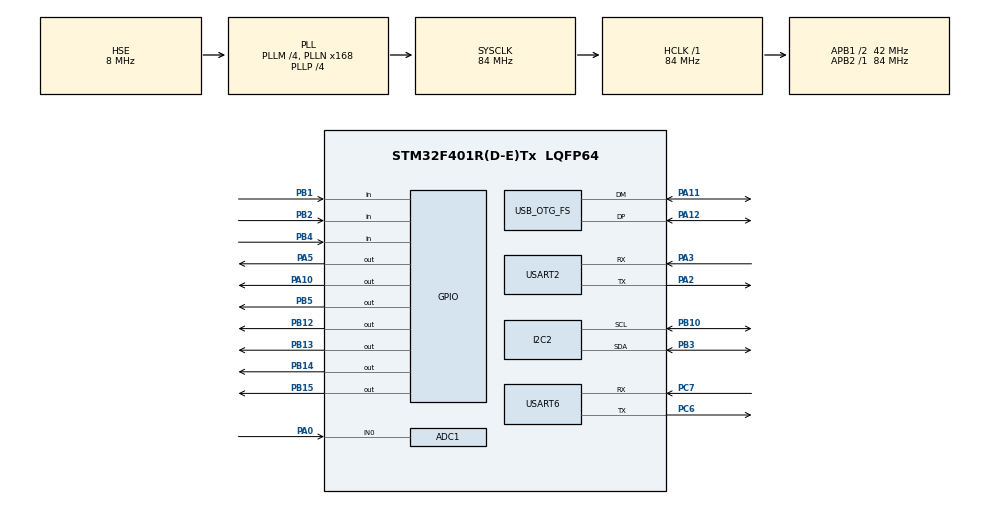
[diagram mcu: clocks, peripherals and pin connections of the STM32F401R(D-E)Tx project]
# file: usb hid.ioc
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ADC1.Channel-0\#ChannelRegularConversion=ADC_CHANNEL_0
ADC1.NbrOfConversionFlag=1
ADC1.Rank-0\#ChannelRegularConversion=1
ADC1.SamplingTime-0\#ChannelRegularConversion=ADC_SAMPLETIME_3CYCLES
ADC1.master=1
Mcu.Family=STM32F4
Mcu.Name=STM32F401R(D-E)Tx
Mcu.Package=LQFP64
NVIC.OTG_FS_IRQn=true\:0\:0\:false\:false\:true\:false\:true\:true
NVIC.PriorityGroup=NVIC_PRIORITYGROUP_4
NVIC.USART2_IRQn=true\:0\:0\:false\:false\:true\:true\:true\:true
PA0-WKUP.Signal=ADCx_IN0
PA10.Signal=GPIO_Output
PA11.Mode=Host_Only
PA11.Signal=USB_OTG_FS_DM
PA12.Mode=Host_Only
PA12.Signal=USB_OTG_FS_DP
PA13.Mode=Serial_Wire
PA13.Signal=SYS_JTMS-SWDIO
PA14.Mode=Serial_Wire
PA14.Signal=SYS_JTCK-SWCLK
PA2.Mode=Asynchronous
PA2.Signal=USART2_TX
PA3.Mode=Asynchronous
PA3.Signal=USART2_RX
PA5.Signal=GPIO_Output
PB1.Signal=GPIO_Input
PB10.Mode=I2C
PB10.Signal=I2C2_SCL
PB12.Signal=GPIO_Output
PB13.Signal=GPIO_Output
PB14.Signal=GPIO_Output
PB15.Signal=GPIO_Output
PB2.Signal=GPIO_Input
PB3.Mode=I2C
PB3.Signal=I2C2_SDA
PB4.Signal=GPIO_Input
PB5.Signal=GPIO_Output
PC6.Mode=Asynchronous
PC6.Signal=USART6_TX
PC7.Mode=Asynchronous
PC7.Signal=USART6_RX
PH0\ -\ OSC_IN.Mode=HSE-External-Clock-Source
PH0\ -\ OSC_IN.Signal=RCC_OSC_IN
PH1\ -\ OSC_OUT.Mode=HSE-External-Clock-Source
PH1\ -\ OSC_OUT.Signal=RCC_OSC_OUT
ProjectManager.HeapSize=0x200
ProjectManager.StackSize=0x400
ProjectManager.TargetToolchain=STM32CubeIDE
RCC.48MHZClocksFreq_Value=48000000
RCC.AHBFreq_Value=84000000
RCC.APB1CLKDivider=RCC_HCLK_DIV2
RCC.APB1Freq_Value=42000000
RCC.APB1TimFreq_Value=84000000
RCC.APB2Freq_Value=84000000
RCC.APB2TimFreq_Value=84000000
RCC.CortexFreq_Value=84000000
RCC.HCLKFreq_Value=84000000
RCC.HSE_VALUE=8000000
RCC.HSI_VALUE=16000000
RCC.LSE_VALUE=32768
RCC.PLLM=4
RCC.PLLN=168
RCC.PLLP=RCC_PLLP_DIV4
RCC.PLLQ=7
RCC.SYSCLKFreq_VALUE=84000000
RCC.SYSCLKSource=RCC_SYSCLKSOURCE_PLLCLK
RCC.VCOOutputFreq_Value=336000000
SH.ADCx_IN0.0=ADC1_IN0,IN0
USART2.VirtualMode=VM_ASYNC
USART6.VirtualMode=VM_ASYNC
USB_HOST.USBH_HandleTypeDef-HID_FS=hUsbHostFS
USB_HOST.VirtualModeFS=Hid
USB_OTG_FS.VirtualMode=Host_Only
USB_OTG_FS.phy_itface=HCD_PHY_EMBEDDED
VP_USB_HOST_VS_USB_HOST_HID_FS.Mode=HID_FS
board=custom

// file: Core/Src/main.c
/* USER CODE BEGIN Header */
/**
  ******************************************************************************
  * @file           : main.c
  * @brief          : Main program body
  ******************************************************************************
  * @attention
  *
  * Copyright (c) 2022 STMicroelectronics.
  * All rights reserved.
  *
  * This software is licensed under terms that can be found in the LICENSE file
  * in the root directory of this software component.
  * If no LICENSE file comes with this software, it is provided AS-IS.
  *
  ******************************************************************************
  */
/* USER CODE END Header */
#include "main.h"
#include "usb_host.h"
#include "i2c-lcd.h"
#include <stdio.h>
#include <stddef.h>
#include <stdbool.h>
#include <string.h>
/* USER CODE BEGIN Includes */
uint8_t data[] = "61940024";

/* USER CODE END Includes */

 ADC_HandleTypeDef hadc1;

I2C_HandleTypeDef hi2c2;

UART_HandleTypeDef huart2;
UART_HandleTypeDef huart6;

void SystemClock_Config(void);
static void MX_GPIO_Init(void);
static void MX_USART2_UART_Init(void);
static void MX_USART6_UART_Init(void);
static void MX_I2C2_Init(void);
static void MX_ADC1_Init(void);
void MX_USB_HOST_Process(void);

/* USER CODE BEGIN PFP */
#include "usbh_hid.h"
static int32_t uart_length=0;
int k =0 ;
const int sampleWindow = 100;                              // Sample window width in mS (50 mS = 20Hz)
unsigned int sample;
unsigned long  startMillis;
unsigned longstartMillis ;                  // Start of sample window
float peakToPeak = 0;                                  // peak-to-peak level
unsigned int signalMax = 0;                            //minimum value
unsigned int signalMin = 1024;
int db = 0;
double raw_value;
char msg[20]="";
uint16_t raw;
double Reavoltage;

const int SAMPLE_TIME = 10;
 unsigned long millisCurrent;
 unsigned long millisLast = 0;
 unsigned long millisElapsed = 0;
 int sampleBufferValue = 0;
int c=0;
 int num_Measure = 128 ; // Set the number of measurements
 // pin connected to pin O module sound sensor
 int redLed = 5;
 long Sound_signal;    // Store the value read Sound Sensor
 long sum = 0 ; // Store the total value of n measurements
int level = 0 ; // Store the average value
 int soundlow = 40;
 int soundmedium = 500;

bool teste ;
 char  uart_tx_buffer[100];
char buffer1[100];
char buffer2[100];
char rx_buffer[100];
uint8_t data2[100] ;
char rx_buffer2[100];
char rx_buffer4[100];
char rx_buffer5[100];
char rx_buffer6[100];
char rx_buffer7[100];
char rx_buffer11[100];
char buffer5[100]="a/";
char buffer6[100]="/1";
uint8_t data3[] = " \r\n slahO WORLD \r\n";
uint8_t data4[] = " \r\n slah5 WORLD \r\n";
char position[100]="0";
uint8_t str[100];
uint8_t ch[100];
uint8_t keycode;
char str1[]="01XY";
int i =0  ;
float val = 0;
int toggle = 0;
extern HID_MOUSE_Info_TypeDef mouse_info;
/* USER CODE END PFP */

/* USER CODE BEGIN 0 */
bool startsWith(const char *haystack, const char *needle) {
    for (size_t i = 0; needle[i] != '\0'; i++) {
        if (haystack[i] != needle[i]) {
            return false;
        }
    }

    return true;
}

long map(long x, long in_min, long in_max, long out_min, long out_max)
{
return (x - in_min) * (out_max - out_min) / (in_max - in_min) + out_min;
}

//(startsWith(buffer1, "5")==true)

void USBH_HID_EventCallback(USBH_HandleTypeDef *phost)
{
HID_KEYBD_Info_TypeDef *keybd_info;

HID_HandleTypeDef *HID_Handle = (HID_HandleTypeDef *) phost->pActiveClass->pData;
if(HID_Handle->Init == USBH_HID_KeybdInit){
keybd_info = USBH_HID_GetKeybdInfo(phost);
keycode = USBH_HID_GetASCIICode(keybd_info);
uart_length=sprintf(uart_tx_buffer,"%c",keycode);
strcat(buffer1,uart_tx_buffer);
}}

/* USER CODE END 0 */

int main(void)
{

  /* MCU Configuration--------------------------------------------------------*/

  /* Reset of all peripherals, Initializes the Flash interface and the Systick. */
  HAL_Init();

  /* Configure the system clock */
  SystemClock_Config();

  /* Initialize all configured peripherals */
  MX_GPIO_Init();
  MX_USART2_UART_Init();
  MX_USB_HOST_Init();
  MX_USART6_UART_Init();
  MX_I2C2_Init();
  MX_ADC1_Init();
  /* USER CODE BEGIN 2 */
  lcd_init ();
  lcd_send_string ("sagemcom");

  HAL_Delay(1000);
  lcd_clear ();
  /* USER CODE END 2 */

  /* Infinite loop */
  while (1)
  {
    MX_USB_HOST_Process();

    if(strcmp(uart_tx_buffer,"Y")== 0){
    	if((startsWith(buffer1, "0")==true)){
    		if(strcmp(buffer1,"00000001XY")== 0){

    			HAL_UART_Transmit(&huart2,(uint8_t*)"position 1  \r\n",sizeof ("position 1  \r\n"), 1000);
    			lcd_put_cur(0, 0);
    			lcd_send_string("position 1");
    			lcd_put_cur(1, 0);
    			lcd_send_string(buffer1);
    			HAL_Delay(1000);
    			strncpy(position, "machine1", sizeof(position));
    			strncpy(buffer1, "", sizeof(buffer1));
    			i=1;
            									}

            if (strcmp(buffer1,"00000002XY")== 0){
            	 HAL_UART_Transmit(&huart2,(uint8_t*)"position 2  \r\n",sizeof ("position 2  \r\n"), 1000);
            	 lcd_put_cur(0, 0);
            	 lcd_send_string("position 2");
            	 lcd_put_cur(1, 0);
            	 lcd_send_string(buffer1);
            	 HAL_Delay(1000);

            	 strncpy(position, "machine2", sizeof(position));

            	 strncpy(buffer1, "", sizeof(buffer1));
            	 i=2;
            									}
           	   	   	   	   	   	   	   	   }

    	if (strcmp(buffer1,"")!= 0)
                       	   	   	   {
    			char buffer5[100]="/a/";
    			char buffer8[100]="/a/";
    			char buffer10[100]="/a/";
    			char buffer6[100]="/teste1";
    			char buffer7[100]="/teste2/validation";
    			char buffer4[100]="/teste2/position";
    			strcat(buffer5,buffer1);
    			strcat(buffer5,buffer6);
    			strcat(buffer8,buffer1);
    			strcat(buffer8,buffer7);
    			strcat(buffer10,buffer1);
    			strcat(buffer10,buffer4);
    			HAL_UART_Transmit(&huart2,(uint8_t*)buffer5,sizeof(buffer5),1000);
    			HAL_UART_Transmit(&huart6,(uint8_t*)buffer5,sizeof(buffer5), 3000);
    			HAL_UART_Receive(&huart6,(uint8_t*)rx_buffer,20,3000);
    			while (strcmp(rx_buffer,"")== 0 ){
    				HAL_UART_Receive(&huart6,(uint8_t*)rx_buffer,5,3000);
    				HAL_Delay(50);

    											}

    			HAL_UART_Transmit(&huart2,(uint8_t*)rx_buffer,sizeof(rx_buffer),1000);
    			HAL_UART_Transmit(&huart2,(uint8_t*)"\r\n",sizeof("\r\n"),1000);
    			lcd_clear ();
    			lcd_put_cur(0, 0);
    			lcd_send_string(rx_buffer);
            	lcd_put_cur(1, 0);
            	lcd_send_string(buffer1);
            	HAL_Delay(2000);
            	lcd_clear ();
            	if ((startsWith(rx_buffer, "e")==true )){

            	        		lcd_send_string("l'article nexis-");

            	        		lcd_put_cur(1, 0);
            	        		lcd_send_string("te pas dans la DB");
            	        		HAL_Delay(2000);

            	        }
            	if ((startsWith(rx_buffer, "f")==true )){

            	        	        		lcd_send_string("le teste precident");

            	        	        		lcd_put_cur(1, 0);
            	        	        		lcd_send_string("n'est pas valide");
            	        	        		HAL_Delay(2000);

            	        	        }
            	if ((startsWith(rx_buffer, "t")==true ) && ( i==0 )){
            		HAL_UART_Transmit(&huart6,(uint8_t*)"555",sizeof ("555"), 3000);
            		lcd_put_cur(0, 0);
            		lcd_send_string("teste");
            		HAL_UART_Receive(&huart6,(uint8_t*)rx_buffer2,3,3000);
            		HAL_UART_Transmit(&huart2,(uint8_t*)rx_buffer2,sizeof(rx_buffer2),1000);
            		lcd_clear ();
            		lcd_put_cur(0, 0);
            		lcd_send_string(rx_buffer2);
            		lcd_put_cur(1, 0);
            		lcd_send_string(buffer1);
            		HAL_Delay(2000);

            }

            if ((startsWith(rx_buffer, "t")==true ) && ( i==1 )){
            	HAL_GPIO_WritePin(GPIOB, GPIO_PIN_12, 1);
            	HAL_GPIO_WritePin(GPIOB, GPIO_PIN_13, 1);

            	lcd_clear ();
            	 lcd_put_cur(0, 0);
            	            lcd_send_string("validation?");
            	            lcd_put_cur(1, 0);
            	            lcd_send_string(buffer1);
            	            HAL_Delay(1000);
            	            lcd_clear ();
            //	while ((HAL_GPIO_ReadPin(GPIOB, GPIO_PIN_2)== 0) &&  (HAL_GPIO_ReadPin(GPIOB, GPIO_PIN_1)== 0)     ){

          //  }
 while (( db < 90) )
 {
HAL_GPIO_WritePin(GPIOB, GPIO_PIN_5, 1);
HAL_Delay(500);

float peakToPeak = 0;                                  // peak-to-peak level

unsigned int signalMax = 0;                            //minimum value
unsigned int signalMin = 1024;
unsigned long startMillis=HAL_GetTick();
 while (((HAL_GetTick() - startMillis) < sampleWindow))
{
HAL_ADC_Start(&hadc1);
HAL_ADC_PollForConversion(&hadc1, HAL_MAX_DELAY);
sample  = HAL_ADC_GetValue(&hadc1 ) ;
HAL_ADC_Stop(&hadc1);

            	                                         //get reading from microphone
 if (sample < 1024)                                  // toss out spurious readings
 {
if (sample > signalMax)
{
signalMax = sample;                           // save just the max levels
 }
else if (sample < signalMin)
{
signalMin = sample;                           // save just the min levels
}
}
}

 peakToPeak = signalMax - signalMin;                    // max - min = peak-peak amplitude
db = map(peakToPeak,20,900,49.5,90);   //(long x, long in_min, long in_max, long out_min, long out_max)
lcd_clear ();
lcd_put_cur(0,0);
lcd_send_string ("bd = ");
lcd_put_cur(0,4);
k++;

if (db <= 80)
{
sprintf ( msg , "%hu\r\n " , db ) ;
lcd_put_cur(0,4);
lcd_send_string (msg);

if (k>=20)
{ teste = false ;
break;
}

}

else
{  sprintf ( msg , "%hu\r\n " , db ) ;

lcd_put_cur(0,4);
lcd_send_string (msg);
 teste = true;
break;
 }

HAL_Delay(100);
 }
if (teste==true){
lcd_clear ();
lcd_put_cur(0,0);
lcd_send_string ("bd = ");
lcd_put_cur(0,4);
lcd_send_string (msg);
lcd_put_cur(1,0);
lcd_send_string ("teste valide");
 HAL_Delay(500);
 HAL_GPIO_WritePin(GPIOB, GPIO_PIN_5, 0);

}

else if (teste==false ){
lcd_clear ();
lcd_put_cur(0,0);
lcd_send_string ("bd = ");
lcd_put_cur(0,4);
lcd_send_string (msg);
lcd_put_cur(1,0);
lcd_send_string ("teste non valide");
HAL_Delay(500);
 HAL_GPIO_WritePin(GPIOB, GPIO_PIN_5, 0);

 }

            if(teste==true)
            {
            lcd_clear ();
            HAL_UART_Transmit(&huart6,(uint8_t*)"ook",sizeof ("ook"), 3000);
            lcd_put_cur(0, 0);
            lcd_send_string("oui");
            HAL_GPIO_WritePin(GPIOB, GPIO_PIN_12, 0);
            HAL_GPIO_WritePin(GPIOB, GPIO_PIN_13, 0);

             HAL_UART_Receive(&huart6,(uint8_t*)rx_buffer2,3,3000);

            HAL_UART_Transmit(&huart2,(uint8_t*)rx_buffer2,sizeof(rx_buffer2),1000);
            lcd_clear ();
            lcd_put_cur(0, 0);
            lcd_send_string(rx_buffer2);
            HAL_Delay(2000);

            HAL_UART_Transmit(&huart2,(uint8_t*)buffer8,sizeof(buffer8),1000);
            HAL_UART_Transmit(&huart6,(uint8_t*)buffer8,sizeof(buffer8),3000);
            HAL_UART_Receive(&huart6,(uint8_t*)rx_buffer4,3,3000);

            HAL_UART_Transmit(&huart2,(uint8_t*)rx_buffer4,sizeof(rx_buffer4),1000);
            lcd_clear ();
            lcd_put_cur(0, 0);
            lcd_send_string(rx_buffer4);
            HAL_UART_Receive(&huart6,(uint8_t*)rx_buffer5,3,3000);

            HAL_UART_Transmit(&huart2,(uint8_t*)rx_buffer5,sizeof(rx_buffer5),1000);
            lcd_clear ();
            lcd_put_cur(0, 0);
            lcd_send_string(rx_buffer5);
            HAL_UART_Transmit(&huart6,(uint8_t*)buffer10,sizeof (buffer10), 3000);
            HAL_UART_Receive(&huart6,(uint8_t*)rx_buffer6,3,3000);

            HAL_UART_Transmit(&huart2,(uint8_t*)rx_buffer6,sizeof(rx_buffer6),1000);

            lcd_clear ();
            lcd_put_cur(0, 0);
            lcd_send_string(rx_buffer6);
            HAL_Delay(2000);
            HAL_UART_Transmit(&huart6,(uint8_t*)position,sizeof (position), 3000);

            HAL_UART_Receive(&huart6,(uint8_t*)rx_buffer7,6,3000);
            HAL_UART_Transmit(&huart2,(uint8_t*)"coooo",sizeof("coooo"),1000);
                   HAL_UART_Transmit(&huart2,(uint8_t*)rx_buffer7,sizeof(rx_buffer7),1000);
            HAL_UART_Receive(&huart6,(uint8_t*)rx_buffer11,3,3000);

            lcd_clear ();
            lcd_put_cur(0, 0);
            lcd_send_string(rx_buffer7);
            lcd_put_cur(1, 0);
            lcd_send_string("BD update ");

            }

            if(teste==false)
            {

            lcd_clear ();

            HAL_UART_Transmit(&huart6,(uint8_t*)"non",sizeof ("non"), 3000);
            lcd_put_cur(0, 0);
            lcd_send_string("non");
            HAL_GPIO_WritePin(GPIOB, GPIO_PIN_12, 0);
            HAL_GPIO_WritePin(GPIOB, GPIO_PIN_13, 0);

            HAL_UART_Receive(&huart6,(uint8_t*)rx_buffer2,3,3000);

            HAL_UART_Transmit(&huart2,(uint8_t*)rx_buffer2,sizeof(rx_buffer2),1000);
            lcd_clear ();
            lcd_put_cur(0, 0);
            lcd_send_string(rx_buffer2);
            HAL_Delay(2000);

            HAL_UART_Transmit(&huart2,(uint8_t*)buffer8,sizeof(buffer8),1000);
            HAL_UART_Transmit(&huart6,(uint8_t*)buffer8,sizeof(buffer8),3000);
            HAL_UART_Receive(&huart6,(uint8_t*)rx_buffer4,3,3000);

            HAL_UART_Transmit(&huart2,(uint8_t*)rx_buffer4,sizeof(rx_buffer4),1000);
            lcd_clear ();
            lcd_put_cur(0, 0);
            lcd_send_string(rx_buffer4);
            HAL_UART_Receive(&huart6,(uint8_t*)rx_buffer5,3,3000);

            HAL_UART_Transmit(&huart2,(uint8_t*)rx_buffer5,sizeof(rx_buffer5),1000);
            lcd_clear ();
            lcd_put_cur(0, 0);
            lcd_send_string(rx_buffer5);
            HAL_UART_Transmit(&huart6,(uint8_t*)buffer10,sizeof (buffer10), 3000);
            HAL_UART_Receive(&huart6,(uint8_t*)rx_buffer6,3,3000);

            HAL_UART_Transmit(&huart2,(uint8_t*)rx_buffer6,sizeof(rx_buffer6),1000);
            lcd_clear ();
            lcd_put_cur(0, 0);
            lcd_send_string(rx_buffer6);
            HAL_Delay(2000);

            HAL_UART_Transmit(&huart6,(uint8_t*)position,sizeof (position), 3000);

                   HAL_UART_Receive(&huart6,(uint8_t*)rx_buffer7,6,3000);
                   HAL_UART_Transmit(&huart2,(uint8_t*)"coooo",sizeof("coooo"),1000);
                          HAL_UART_Transmit(&huart2,(uint8_t*)rx_buffer7,sizeof(rx_buffer7),1000);
                   HAL_UART_Receive(&huart6,(uint8_t*)rx_buffer11,3,3000);

            lcd_clear ();
            lcd_put_cur(0, 0);
            lcd_send_string(rx_buffer7);
            lcd_put_cur(1, 0);
            lcd_send_string("BD update ");

            }

            }

            if ((startsWith(rx_buffer, "t")==true ) && ( i==2 )){
            	HAL_GPIO_WritePin(GPIOB, GPIO_PIN_14, 1);
            	HAL_GPIO_WritePin(GPIOB, GPIO_PIN_15, 1);

            	lcd_clear ();

          //  	while ((HAL_GPIO_ReadPin(GPIOB, GPIO_PIN_2)== 0) &&  (HAL_GPIO_ReadPin(GPIOB, GPIO_PIN_1)== 0)     ){

            lcd_put_cur(0, 0);
            lcd_send_string("validation?");
            lcd_put_cur(1, 0);
                    lcd_send_string(buffer1);
                    HAL_Delay(500);
                    lcd_clear ();
         //   }
                    while (( db < 90) )
                    {
                   HAL_GPIO_WritePin(GPIOB, GPIO_PIN_5, 1);
                   HAL_Delay(500);

                   float peakToPeak = 0;                                  // peak-to-peak level

                   unsigned int signalMax = 0;                            //minimum value
                   unsigned int signalMin = 1024;
                   unsigned long startMillis=HAL_GetTick();
                    while (((HAL_GetTick() - startMillis) < sampleWindow))
                   {
                   HAL_ADC_Start(&hadc1);
                   HAL_ADC_PollForConversion(&hadc1, HAL_MAX_DELAY);
                   sample  = HAL_ADC_GetValue(&hadc1 ) ;
                   HAL_ADC_Stop(&hadc1);

                               	                                         //get reading from microphone
                    if (sample < 1024)                                  // toss out spurious readings
                    {
                   if (sample > signalMax)
                   {
                   signalMax = sample;                           // save just the max levels
                    }
                   else if (sample < signalMin)
                   {
                   signalMin = sample;                           // save just the min levels
                   }
                   }
                   }

                    peakToPeak = signalMax - signalMin;                    // max - min = peak-peak amplitude
                   db = map(peakToPeak,20,900,49.5,90);   //(long x, long in_min, long in_max, long out_min, long out_max)
                   lcd_clear ();
                   lcd_put_cur(0,0);
                   lcd_send_string ("bd = ");
                   lcd_put_cur(0,4);
                   k++;

                   if (db <= 80)
                   {
                   sprintf ( msg , "%hu\r\n " , db ) ;
                   lcd_put_cur(0,4);
                   lcd_send_string (msg);

                   if (k>=20)
                   { teste = false ;
                   break;
                   }

                   }

                   else
                   {  sprintf ( msg , "%hu\r\n " , db ) ;

                   lcd_put_cur(0,4);
                   lcd_send_string (msg);
                    teste = true;
                   break;
                    }

                   HAL_Delay(100);
                    }
                   if (teste==true){
                   lcd_clear ();
                   lcd_put_cur(0,0);
                   lcd_send_string ("bd = ");
                   lcd_put_cur(0,4);
                   lcd_send_string (msg);
                   lcd_put_cur(1,0);
                   lcd_send_string ("teste valide");
                    HAL_Delay(500);
                    HAL_GPIO_WritePin(GPIOB, GPIO_PIN_5, 0);

                   }

                   else if (teste==false ){
                   lcd_clear ();
                   lcd_put_cur(0,0);
                   lcd_send_string ("bd = ");
                   lcd_put_cur(0,4);
                   lcd_send_string (msg);
                   lcd_put_cur(1,0);
                   lcd_send_string ("teste non valide");
                   HAL_Delay(500);
                    HAL_GPIO_WritePin(GPIOB, GPIO_PIN_5, 0);

                    }

            if(teste==true)
            {
            lcd_clear ();
            HAL_UART_Transmit(&huart6,(uint8_t*)"ook",sizeof ("ook"), 3000);
            lcd_put_cur(0, 0);
            lcd_send_string("oui");
            HAL_GPIO_WritePin(GPIOB, GPIO_PIN_14, 0);
            HAL_GPIO_WritePin(GPIOB, GPIO_PIN_15, 0);

             HAL_UART_Receive(&huart6,(uint8_t*)rx_buffer2,3,3000);

            HAL_UART_Transmit(&huart2,(uint8_t*)rx_buffer2,sizeof(rx_buffer2),1000);
            lcd_clear ();
            lcd_put_cur(0, 0);
            lcd_send_string(rx_buffer2);
            HAL_Delay(2000);

            HAL_UART_Transmit(&huart2,(uint8_t*)buffer8,sizeof(buffer8),1000);
            HAL_UART_Transmit(&huart6,(uint8_t*)buffer8,sizeof(buffer8),3000);
            HAL_UART_Receive(&huart6,(uint8_t*)rx_buffer4,3,3000);

            HAL_UART_Transmit(&huart2,(uint8_t*)rx_buffer4,sizeof(rx_buffer4),1000);
            lcd_clear ();
            lcd_put_cur(0, 0);
            lcd_send_string(rx_buffer4);
            HAL_UART_Receive(&huart6,(uint8_t*)rx_buffer5,3,3000);

            HAL_UART_Transmit(&huart2,(uint8_t*)rx_buffer5,sizeof(rx_buffer5),1000);
            lcd_clear ();
            lcd_put_cur(0, 0);
            lcd_send_string(rx_buffer5);
            HAL_UART_Transmit(&huart6,(uint8_t*)buffer10,sizeof (buffer10), 3000);
            HAL_UART_Receive(&huart6,(uint8_t*)rx_buffer6,3,3000);

            HAL_UART_Transmit(&huart2,(uint8_t*)rx_buffer6,sizeof(rx_buffer6),1000);
            lcd_clear ();
            lcd_put_cur(0, 0);
            lcd_send_string(rx_buffer6);
            HAL_Delay(2000);
            HAL_UART_Transmit(&huart6,(uint8_t*)position,sizeof (position), 3000);

                   HAL_UART_Receive(&huart6,(uint8_t*)rx_buffer7,6,3000);
                   HAL_UART_Transmit(&huart2,(uint8_t*)"coooo",sizeof("coooo"),1000);
                          HAL_UART_Transmit(&huart2,(uint8_t*)rx_buffer7,sizeof(rx_buffer7),1000);
                   HAL_UART_Receive(&huart6,(uint8_t*)rx_buffer11,3,3000);

            lcd_clear ();
            lcd_put_cur(0, 0);
            lcd_send_string(rx_buffer7);
            lcd_put_cur(1, 0);
            lcd_send_string("BD update ");

            }

            if(teste==false)
            {

            lcd_clear ();

            HAL_UART_Transmit(&huart6,(uint8_t*)"non",sizeof ("non"), 3000);
            lcd_put_cur(0, 0);
            lcd_send_string("non");
            HAL_GPIO_WritePin(GPIOB, GPIO_PIN_14, 0);
            HAL_GPIO_WritePin(GPIOB, GPIO_PIN_15, 0);

            HAL_UART_Receive(&huart6,(uint8_t*)rx_buffer2,3,3000);

            HAL_UART_Transmit(&huart2,(uint8_t*)rx_buffer2,sizeof(rx_buffer2),1000);
            lcd_clear ();
            lcd_put_cur(0, 0);
            lcd_send_string(rx_buffer2);
            HAL_Delay(2000);

            HAL_UART_Transmit(&huart2,(uint8_t*)buffer8,sizeof(buffer8),1000);
            HAL_UART_Transmit(&huart6,(uint8_t*)buffer8,sizeof(buffer8),3000);
            HAL_UART_Receive(&huart6,(uint8_t*)rx_buffer4,3,3000);

            HAL_UART_Transmit(&huart2,(uint8_t*)rx_buffer4,sizeof(rx_buffer4),1000);
            lcd_clear ();
            lcd_put_cur(0, 0);
            lcd_send_string(rx_buffer4);
            HAL_UART_Receive(&huart6,(uint8_t*)rx_buffer5,3,3000);

            HAL_UART_Transmit(&huart2,(uint8_t*)rx_buffer5,sizeof(rx_buffer5),1000);
            lcd_clear ();
            lcd_put_cur(0, 0);
            lcd_send_string(rx_buffer5);
            HAL_UART_Transmit(&huart6,(uint8_t*)buffer10,sizeof (buffer10), 3000);
            HAL_UART_Receive(&huart6,(uint8_t*)rx_buffer6,3,3000);

            HAL_UART_Transmit(&huart2,(uint8_t*)rx_buffer6,sizeof(rx_buffer6),1000);
            lcd_clear ();
            lcd_put_cur(0, 0);
            lcd_send_string(rx_buffer6);
            HAL_Delay(2000);
            HAL_UART_Transmit(&huart6,(uint8_t*)position,sizeof (position), 3000);

                   HAL_UART_Receive(&huart6,(uint8_t*)rx_buffer7,6,3000);
                   HAL_UART_Transmit(&huart2,(uint8_t*)"coooo",sizeof("coooo"),1000);
                          HAL_UART_Transmit(&huart2,(uint8_t*)rx_buffer7,sizeof(rx_buffer7),1000);
                   HAL_UART_Receive(&huart6,(uint8_t*)rx_buffer11,3,3000);

            lcd_clear ();
            lcd_put_cur(0, 0);
            lcd_send_string(rx_buffer7);
            lcd_put_cur(1, 0);
            lcd_send_string("BD update ");

            }

            }

        strncpy(position, "", sizeof(position));
        strncpy(rx_buffer, "", sizeof(rx_buffer));
        strncpy(rx_buffer, "", sizeof(rx_buffer));
        strncpy(rx_buffer2, "", sizeof(rx_buffer2));
        strncpy(rx_buffer5, "", sizeof(rx_buffer5));
        strncpy(rx_buffer4, "", sizeof(rx_buffer4));
        strncpy(rx_buffer6, "", sizeof(rx_buffer6));
        strncpy(rx_buffer7, "", sizeof(rx_buffer7));
        strncpy(rx_buffer11, "", sizeof(rx_buffer11));
        strncpy(uart_tx_buffer, "", sizeof(uart_tx_buffer));
        strncpy(buffer8, "", sizeof(buffer8));
        strncpy(buffer7, "", sizeof(buffer7));
        strncpy(uart_tx_buffer, "", sizeof(uart_tx_buffer));
        strncpy(buffer1, "", sizeof(buffer1));
        strncpy(buffer5, "", sizeof(buffer5));
        strncpy(buffer6, "", sizeof(buffer6));
        strncpy(rx_buffer, "", sizeof(rx_buffer));
        strncpy(buffer8, "", sizeof(buffer8));
        strncpy(buffer7, "", sizeof(buffer7));
        strncpy(buffer4, "", sizeof(buffer4));
        strncpy(buffer10, "", sizeof(buffer10));
    i=0;

        }
        }

  }
}

void SystemClock_Config(void)
{
  RCC_OscInitTypeDef RCC_OscInitStruct = {0};
  RCC_ClkInitTypeDef RCC_ClkInitStruct = {0};

  /** Configure the main internal regulator output voltage
  */
  __HAL_RCC_PWR_CLK_ENABLE();
  __HAL_PWR_VOLTAGESCALING_CONFIG(PWR_REGULATOR_VOLTAGE_SCALE2);

  /** Initializes the RCC Oscillators according to the specified parameters
  * in the RCC_OscInitTypeDef structure.
  */
  RCC_OscInitStruct.OscillatorType = RCC_OSCILLATORTYPE_HSE;
  RCC_OscInitStruct.HSEState = RCC_HSE_BYPASS;
  RCC_OscInitStruct.PLL.PLLState = RCC_PLL_ON;
  RCC_OscInitStruct.PLL.PLLSource = RCC_PLLSOURCE_HSE;
  RCC_OscInitStruct.PLL.PLLM = 4;
  RCC_OscInitStruct.PLL.PLLN = 168;
  RCC_OscInitStruct.PLL.PLLP = RCC_PLLP_DIV4;
  RCC_OscInitStruct.PLL.PLLQ = 7;
  if (HAL_RCC_OscConfig(&RCC_OscInitStruct) != HAL_OK)
  {
    Error_Handler();
  }

  /** Initializes the CPU, AHB and APB buses clocks
  */
  RCC_ClkInitStruct.ClockType = RCC_CLOCKTYPE_HCLK|RCC_CLOCKTYPE_SYSCLK
                              |RCC_CLOCKTYPE_PCLK1|RCC_CLOCKTYPE_PCLK2;
  RCC_ClkInitStruct.SYSCLKSource = RCC_SYSCLKSOURCE_PLLCLK;
  RCC_ClkInitStruct.AHBCLKDivider = RCC_SYSCLK_DIV1;
  RCC_ClkInitStruct.APB1CLKDivider = RCC_HCLK_DIV2;
  RCC_ClkInitStruct.APB2CLKDivider = RCC_HCLK_DIV1;

  if (HAL_RCC_ClockConfig(&RCC_ClkInitStruct, FLASH_LATENCY_2) != HAL_OK)
  {
    Error_Handler();
  }
}

static void MX_ADC1_Init(void)
{

  ADC_ChannelConfTypeDef sConfig = {0};

  /** Configure the global features of the ADC (Clock, Resolution, Data Alignment and number of conversion)
  */
  hadc1.Instance = ADC1;
  hadc1.Init.ClockPrescaler = ADC_CLOCK_SYNC_PCLK_DIV4;
  hadc1.Init.Resolution = ADC_RESOLUTION_12B;
  hadc1.Init.ScanConvMode = DISABLE;
  hadc1.Init.ContinuousConvMode = DISABLE;
  hadc1.Init.DiscontinuousConvMode = DISABLE;
  hadc1.Init.ExternalTrigConvEdge = ADC_EXTERNALTRIGCONVEDGE_NONE;
  hadc1.Init.ExternalTrigConv = ADC_SOFTWARE_START;
  hadc1.Init.DataAlign = ADC_DATAALIGN_RIGHT;
  hadc1.Init.NbrOfConversion = 1;
  hadc1.Init.DMAContinuousRequests = DISABLE;
  hadc1.Init.EOCSelection = ADC_EOC_SINGLE_CONV;
  if (HAL_ADC_Init(&hadc1) != HAL_OK)
  {
    Error_Handler();
  }

  /** Configure for the selected ADC regular channel its corresponding rank in the sequencer and its sample time.
  */
  sConfig.Channel = ADC_CHANNEL_0;
  sConfig.Rank = 1;
  sConfig.SamplingTime = ADC_SAMPLETIME_3CYCLES;
  if (HAL_ADC_ConfigChannel(&hadc1, &sConfig) != HAL_OK)
  {
    Error_Handler();
  }

}

static void MX_I2C2_Init(void)
{

  hi2c2.Instance = I2C2;
  hi2c2.Init.ClockSpeed = 100000;
  hi2c2.Init.DutyCycle = I2C_DUTYCYCLE_2;
  hi2c2.Init.OwnAddress1 = 0;
  hi2c2.Init.AddressingMode = I2C_ADDRESSINGMODE_7BIT;
  hi2c2.Init.DualAddressMode = I2C_DUALADDRESS_DISABLE;
  hi2c2.Init.OwnAddress2 = 0;
  hi2c2.Init.GeneralCallMode = I2C_GENERALCALL_DISABLE;
  hi2c2.Init.NoStretchMode = I2C_NOSTRETCH_DISABLE;
  if (HAL_I2C_Init(&hi2c2) != HAL_OK)
  {
    Error_Handler();
  }

}

static void MX_USART2_UART_Init(void)
{

  huart2.Instance = USART2;
  huart2.Init.BaudRate = 115200;
  huart2.Init.WordLength = UART_WORDLENGTH_8B;
  huart2.Init.StopBits = UART_STOPBITS_1;
  huart2.Init.Parity = UART_PARITY_NONE;
  huart2.Init.Mode = UART_MODE_TX_RX;
  huart2.Init.HwFlowCtl = UART_HWCONTROL_NONE;
  huart2.Init.OverSampling = UART_OVERSAMPLING_16;
  if (HAL_UART_Init(&huart2) != HAL_OK)
  {
    Error_Handler();
  }

}

static void MX_USART6_UART_Init(void)
{

  huart6.Instance = USART6;
  huart6.Init.BaudRate = 115200;
  huart6.Init.WordLength = UART_WORDLENGTH_8B;
  huart6.Init.StopBits = UART_STOPBITS_1;
  huart6.Init.Parity = UART_PARITY_NONE;
  huart6.Init.Mode = UART_MODE_TX_RX;
  huart6.Init.HwFlowCtl = UART_HWCONTROL_NONE;
  huart6.Init.OverSampling = UART_OVERSAMPLING_16;
  if (HAL_UART_Init(&huart6) != HAL_OK)
  {
    Error_Handler();
  }

}

static void MX_GPIO_Init(void)
{
  GPIO_InitTypeDef GPIO_InitStruct = {0};

  /* GPIO Ports Clock Enable */
  __HAL_RCC_GPIOH_CLK_ENABLE();
  __HAL_RCC_GPIOA_CLK_ENABLE();
  __HAL_RCC_GPIOB_CLK_ENABLE();
  __HAL_RCC_GPIOC_CLK_ENABLE();

  /*Configure GPIO pin Output Level */
  HAL_GPIO_WritePin(GPIOA, GPIO_PIN_5|GPIO_PIN_10, GPIO_PIN_RESET);

  /*Configure GPIO pin Output Level */
  HAL_GPIO_WritePin(GPIOB, GPIO_PIN_12|GPIO_PIN_13|GPIO_PIN_14|GPIO_PIN_15
                          |GPIO_PIN_5, GPIO_PIN_RESET);

  /*Configure GPIO pins : PA5 PA10 */
  GPIO_InitStruct.Pin = GPIO_PIN_5|GPIO_PIN_10;
  GPIO_InitStruct.Mode = GPIO_MODE_OUTPUT_PP;
  GPIO_InitStruct.Pull = GPIO_NOPULL;
  GPIO_InitStruct.Speed = GPIO_SPEED_FREQ_LOW;
  HAL_GPIO_Init(GPIOA, &GPIO_InitStruct);

  /*Configure GPIO pins : PB1 PB2 PB4 */
  GPIO_InitStruct.Pin = GPIO_PIN_1|GPIO_PIN_2|GPIO_PIN_4;
  GPIO_InitStruct.Mode = GPIO_MODE_INPUT;
  GPIO_InitStruct.Pull = GPIO_NOPULL;
  HAL_GPIO_Init(GPIOB, &GPIO_InitStruct);

  /*Configure GPIO pins : PB12 PB13 PB14 PB15
                           PB5 */
  GPIO_InitStruct.Pin = GPIO_PIN_12|GPIO_PIN_13|GPIO_PIN_14|GPIO_PIN_15
                          |GPIO_PIN_5;
  GPIO_InitStruct.Mode = GPIO_MODE_OUTPUT_PP;
  GPIO_InitStruct.Pull = GPIO_NOPULL;
  GPIO_InitStruct.Speed = GPIO_SPEED_FREQ_LOW;
  HAL_GPIO_Init(GPIOB, &GPIO_InitStruct);

}

void Error_Handler(void)
{
  __disable_irq();
  while (1)
  {
  }
}
